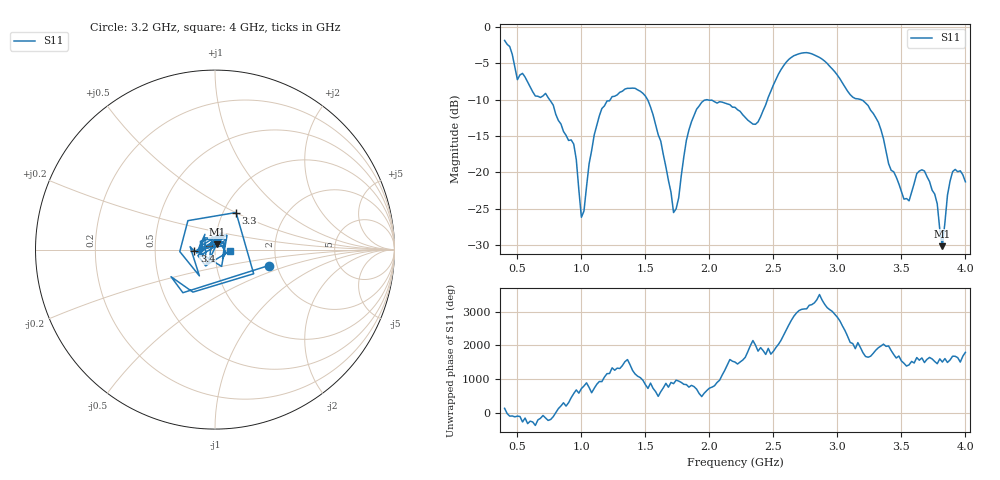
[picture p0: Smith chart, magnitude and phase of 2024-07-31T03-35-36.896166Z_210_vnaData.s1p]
!Created with skrf (http://scikit-rf.org).
# Hz S RI R 50.0
!freq ReS11 ImS11
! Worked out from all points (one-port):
!   181 points, 400 MHz to 4 GHz, reference 50 ohm
!   lowest |S11| = -30.2 dB at 3.82 GHz (marker M1), VSWR 1.06, Z = 51.1 + j2.95 ohm
!   |S11| at or under -10 dB: 750.8 MHz to 1.226 GHz (475 MHz wide, 48.1 % of centre); 1.516 GHz to 2.454 GHz (937.2 MHz wide, 47.2 % of centre); 3.183 GHz to end of sweep
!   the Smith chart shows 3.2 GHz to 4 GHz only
!   S11 on the Smith chart (normalised r, x): 3.2 GHz: 1.81, -0.36; 3.3 GHz: 1.15, +0.50; 3.4 GHz: 0.79, -0.02; 4 GHz: 1.19, -0.01
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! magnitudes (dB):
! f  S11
! 400 MHz  -1.9
! 500 MHz  -7.3
! 720 MHz  -9.1
! 860 MHz  -14.4
! 940 MHz  -16.1
! 1 GHz  -26.2
! 1.14 GHz  -12.2
! 1.3 GHz  -9.0
! 1.52 GHz  -10.1
! 1.62 GHz  -15.7
! 1.72 GHz  -25.5
! 1.76 GHz  -23.5
! 1.82 GHz  -15.6
! 1.9 GHz  -11.3
! 2.2 GHz  -11.1
! 2.36 GHz  -13.4
! 2.66 GHz  -4.0
! 2.88 GHz  -4.4
! 3.1 GHz  -9.3
! 3.2 GHz  -10.1
! 3.3 GHz  -12.5
! 3.4 GHz  -18.8
! 3.56 GHz  -23.9
! 3.68 GHz  -19.8
! 3.78 GHz  -24.3
! 3.82 GHz  -30.2
! 3.9 GHz  -19.9
! 4 GHz  -21.3
